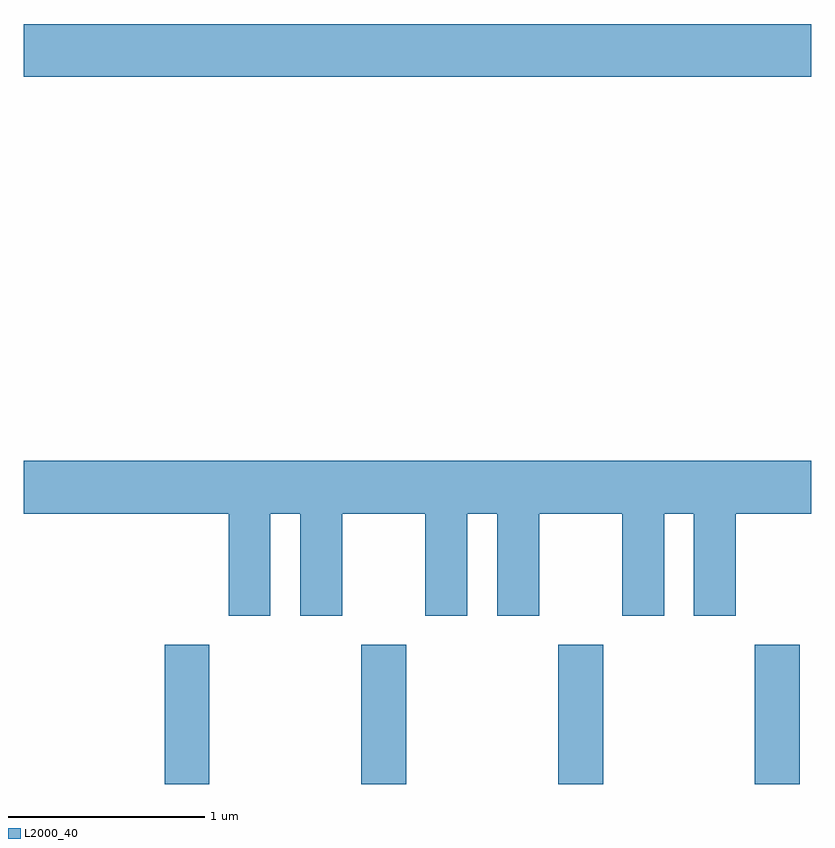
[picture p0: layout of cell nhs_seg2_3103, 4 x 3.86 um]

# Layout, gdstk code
import gdstk
lib = gdstk.Library(unit=1e-6, precision=1e-09)
def R(c, l, rs):  # rectangles x0, y0, x1, y1
    for r in rs: c.add(gdstk.rectangle(r[:2], r[2:], *l))
def A(c, l, x, y, w, h, nx, ny, dx, dy):  # array of equal rectangles
    R(c, l, [(x+i*dx, y+j*dy, x+i*dx+w, y+j*dy+h) for i in range(nx) for j in range(ny)])
def P(c, l, *ps):  # polygons
    for p in ps: c.add(gdstk.Polygon(p, *l))
L2000_40 = (2000, 40)

nhs_seg2_3103 = lib.new_cell('nhs_seg2_3103')
A(nhs_seg2_3103, L2000_40, 276.326, 1075.802, 0.228, 0.707, 4, 1, 1, 0)
R(nhs_seg2_3103, L2000_40, [(275.611,1079.396,279.611,1079.664)])
P(nhs_seg2_3103, L2000_40, [(276.864,1077.176),(277.016,1077.176),(277.016,1076.656),(277.229,1076.656),(277.229,1077.176),(277.651,1077.176),(277.651,1076.656),(277.864,1076.656),(277.864,1077.176),(278.016,1077.176),(278.016,1076.656),(278.229,1076.656),(278.229,1077.176),(278.651,1077.176),(278.651,1076.656),(278.864,1076.656),(278.864,1077.176),(279.016,1077.176),(279.016,1076.656),(279.229,1076.656),(279.229,1077.176),(279.611,1077.176),(279.611,1077.444),(275.611,1077.444),(275.611,1077.176),(276.651,1077.176),(276.651,1076.656),(276.864,1076.656)])

lib.write_gds('nhs_seg2_3103.gds')
